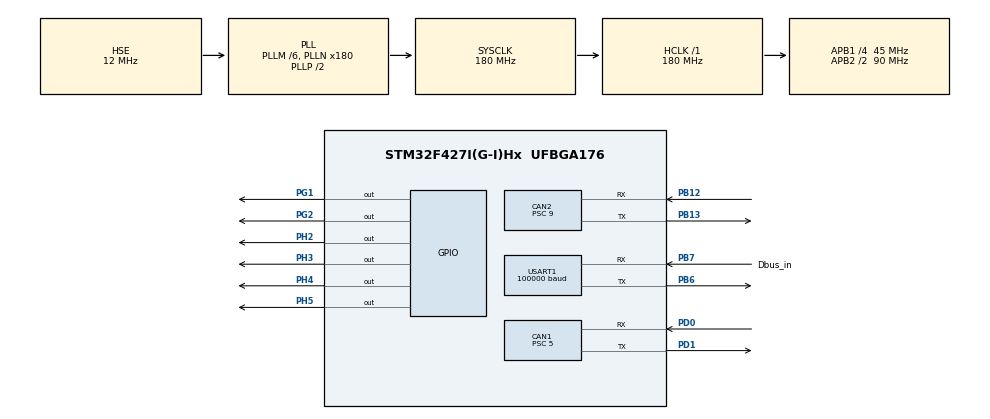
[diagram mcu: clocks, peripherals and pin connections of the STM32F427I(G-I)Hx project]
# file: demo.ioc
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CAN1.BS1=CAN_BS1_4TQ
CAN1.BS2=CAN_BS2_4TQ
CAN1.CalculateTimeQuantum=111.11111111111111
CAN1.Prescaler=5
CAN2.BS1=CAN_BS1_4TQ
CAN2.BS2=CAN_BS2_5TQ
CAN2.CalculateTimeQuantum=200.0
CAN2.Prescaler=9
CAN2.SJW=CAN_SJW_1TQ
FREERTOS.Tasks01=StartTask,2,128,StartDefaultTask,Default,NULL,Dynamic,NULL,NULL;TaskMove,-2,256,TaskMoveFun,Default,NULL,Dynamic,NULL,NULL;TaskHolder,-2,256,TaskHolderFun,Default,NULL,Dynamic,NULL,NULL;TaskShot,-2,256,TaskShotFun,Default,NULL,Dynamic,NULL,NULL;TaskGetInfo,-2,256,TaskGetInfoFun,Default,NULL,Dynamic,NULL,NULL
FREERTOS.configUSE_TIMERS=0
Mcu.Family=STM32F4
Mcu.Name=STM32F427I(G-I)Hx
Mcu.Package=UFBGA176
NVIC.CAN1_RX0_IRQn=true\:5\:0\:false\:false\:true\:true\:true
NVIC.CAN1_RX1_IRQn=true\:5\:0\:false\:false\:true\:true\:true
NVIC.CAN2_RX0_IRQn=true\:5\:0\:false\:false\:true\:true\:true
NVIC.CAN2_RX1_IRQn=true\:5\:0\:false\:false\:true\:true\:true
NVIC.PriorityGroup=NVIC_PRIORITYGROUP_4
NVIC.TIM8_TRG_COM_TIM14_IRQn=true\:0\:0\:false\:false\:true\:false\:false
NVIC.TimeBase=TIM8_TRG_COM_TIM14_IRQn
NVIC.TimeBaseIP=TIM14
NVIC.USART1_IRQn=true\:5\:0\:false\:false\:true\:true\:true
PB12.Mode=Slave
PB12.Signal=CAN2_RX
PB13.Mode=Slave
PB13.Signal=CAN2_TX
PB6.GPIO_Mode=GPIO_MODE_AF_PP
PB6.Mode=Asynchronous
PB6.Signal=USART1_TX
PB7.GPIO_Label=Dbus_in
PB7.Mode=Asynchronous
PB7.Signal=USART1_RX
PD0.Mode=Master
PD0.Signal=CAN1_RX
PD1.Mode=Master
PD1.Signal=CAN1_TX
PG1.PinState=GPIO_PIN_SET
PG1.Signal=GPIO_Output
PG2.PinState=GPIO_PIN_SET
PG2.Signal=GPIO_Output
PH0/OSC_IN.Mode=HSE-External-Oscillator
PH0/OSC_IN.Signal=RCC_OSC_IN
PH1/OSC_OUT.Mode=HSE-External-Oscillator
PH1/OSC_OUT.Signal=RCC_OSC_OUT
PH2.PinState=GPIO_PIN_SET
PH2.Signal=GPIO_Output
PH3.PinState=GPIO_PIN_SET
PH3.Signal=GPIO_Output
PH4.PinState=GPIO_PIN_SET
PH4.Signal=GPIO_Output
PH5.PinState=GPIO_PIN_SET
PH5.Signal=GPIO_Output
ProjectManager.HeapSize=0x200
ProjectManager.StackSize=0x400
ProjectManager.TargetToolchain=MDK-ARM V5
RCC.48MHZClocksFreq_Value=90000000
RCC.AHBFreq_Value=180000000
RCC.APB1CLKDivider=RCC_HCLK_DIV4
RCC.APB1Freq_Value=45000000
RCC.APB1TimFreq_Value=90000000
RCC.APB2CLKDivider=RCC_HCLK_DIV2
RCC.APB2Freq_Value=90000000
RCC.APB2TimFreq_Value=180000000
RCC.CortexFreq_Value=180000000
RCC.HCLKFreq_Value=180000000
RCC.HSE_VALUE=12000000
RCC.HSI_VALUE=16000000
RCC.LSE_VALUE=32768
RCC.PLLM=6
RCC.PLLN=180
RCC.PLLSourceVirtual=RCC_PLLSOURCE_HSE
RCC.SYSCLKFreq_VALUE=180000000
RCC.SYSCLKSource=RCC_SYSCLKSOURCE_PLLCLK
RCC.VCOOutputFreq_Value=360000000
USART1.BaudRate=100000
USART1.Mode=MODE_RX
USART1.Parity=PARITY_EVEN
USART1.VirtualMode=VM_ASYNC
VP_FREERTOS_VS_ENABLE.Mode=Enabled
VP_SYS_VS_tim14.Mode=TIM14
board=custom

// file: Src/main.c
/* USER CODE BEGIN Header */
/**
  ******************************************************************************
  * @file           : main.c
  * @brief          : Main program body
  ******************************************************************************
  * This notice applies to any and all portions of this file
  * that are not between comment pairs USER CODE BEGIN and
  * USER CODE END. Other portions of this file, whether
  * inserted by the user or by software development tools
  * are owned by their respective copyright owners.
  *
  * Copyright (c) 2019 STMicroelectronics International N.V.
  * All rights reserved.
  *
  * Redistribution and use in source and binary forms, with or without
  * modification, are permitted, provided that the following conditions are met:
  *
  * 1. Redistribution of source code must retain the above copyright notice,
  *    this list of conditions and the following disclaimer.
  * 2. Redistributions in binary form must reproduce the above copyright notice,
  *    this list of conditions and the following disclaimer in the documentation
  *    and/or other materials provided with the distribution.
  * 3. Neither the name of STMicroelectronics nor the names of other
  *    contributors to this software may be used to endorse or promote products
  *    derived from this software without specific written permission.
  * 4. This software, including modifications and/or derivative works of this
  *    software, must execute solely and exclusively on microcontroller or
  *    microprocessor devices manufactured by or for STMicroelectronics.
  * 5. Redistribution and use of this software other than as permitted under
  *    this license is void and will automatically terminate your rights under
  *    this license.
  *
  * THIS SOFTWARE IS PROVIDED BY STMICROELECTRONICS AND CONTRIBUTORS "AS IS"
  * AND ANY EXPRESS, IMPLIED OR STATUTORY WARRANTIES, INCLUDING, BUT NOT
  * LIMITED TO, THE IMPLIED WARRANTIES OF MERCHANTABILITY, FITNESS FOR A
  * PARTICULAR PURPOSE AND NON-INFRINGEMENT OF THIRD PARTY INTELLECTUAL PROPERTY
  * RIGHTS ARE DISCLAIMED TO THE FULLEST EXTENT PERMITTED BY LAW. IN NO EVENT
  * SHALL STMICROELECTRONICS OR CONTRIBUTORS BE LIABLE FOR ANY DIRECT, INDIRECT,
  * INCIDENTAL, SPECIAL, EXEMPLARY, OR CONSEQUENTIAL DAMAGES (INCLUDING, BUT NOT
  * LIMITED TO, PROCUREMENT OF SUBSTITUTE GOODS OR SERVICES; LOSS OF USE, DATA,
  * OR PROFITS; OR BUSINESS INTERRUPTION) HOWEVER CAUSED AND ON ANY THEORY OF
  * LIABILITY, WHETHER IN CONTRACT, STRICT LIABILITY, OR TORT (INCLUDING
  * NEGLIGENCE OR OTHERWISE) ARISING IN ANY WAY OUT OF THE USE OF THIS SOFTWARE,
  * EVEN IF ADVISED OF THE POSSIBILITY OF SUCH DAMAGE.
  *
  ******************************************************************************
  */
/* USER CODE END Header */

#include "main.h"
#include "cmsis_os.h"
#include "can.h"
#include "usart.h"
#include "gpio.h"

/* USER CODE BEGIN Includes */
#include "bsp_can.h"
#include "bsp_uart.h"
/* USER CODE END Includes */

void SystemClock_Config(void);
void MX_FREERTOS_Init(void);

int main(void)
{

  /* MCU Configuration--------------------------------------------------------*/

  /* Reset of all peripherals, Initializes the Flash interface and the Systick. */
  HAL_Init();

  /* Configure the system clock */
  SystemClock_Config();

  /* Initialize all configured peripherals */
  MX_GPIO_Init();
  MX_USART1_UART_Init();
  MX_CAN1_Init();
  MX_CAN2_Init();
  /* USER CODE BEGIN 2 */
	can_filter_init(&hcan1);
	can_filter_init(&hcan2);
	dbus_uart_init();

  /* USER CODE END 2 */

  /* Call init function for freertos objects (in freertos.c) */
  MX_FREERTOS_Init();

  /* Start scheduler */
  osKernelStart();

  /* We should never get here as control is now taken by the scheduler */

  /* Infinite loop */
  while (1)
  {

  }
}

void SystemClock_Config(void)
{
  RCC_OscInitTypeDef RCC_OscInitStruct = {0};
  RCC_ClkInitTypeDef RCC_ClkInitStruct = {0};

  /**Configure the main internal regulator output voltage
  */
  __HAL_RCC_PWR_CLK_ENABLE();
  __HAL_PWR_VOLTAGESCALING_CONFIG(PWR_REGULATOR_VOLTAGE_SCALE1);
  /**Initializes the CPU, AHB and APB busses clocks
  */
  RCC_OscInitStruct.OscillatorType = RCC_OSCILLATORTYPE_HSE;
  RCC_OscInitStruct.HSEState = RCC_HSE_ON;
  RCC_OscInitStruct.PLL.PLLState = RCC_PLL_ON;
  RCC_OscInitStruct.PLL.PLLSource = RCC_PLLSOURCE_HSE;
  RCC_OscInitStruct.PLL.PLLM = 6;
  RCC_OscInitStruct.PLL.PLLN = 180;
  RCC_OscInitStruct.PLL.PLLP = RCC_PLLP_DIV2;
  RCC_OscInitStruct.PLL.PLLQ = 4;
  if (HAL_RCC_OscConfig(&RCC_OscInitStruct) != HAL_OK)
  {
    Error_Handler();
  }
  /**Activate the Over-Drive mode
  */
  if (HAL_PWREx_EnableOverDrive() != HAL_OK)
  {
    Error_Handler();
  }
  /**Initializes the CPU, AHB and APB busses clocks
  */
  RCC_ClkInitStruct.ClockType = RCC_CLOCKTYPE_HCLK|RCC_CLOCKTYPE_SYSCLK
                              |RCC_CLOCKTYPE_PCLK1|RCC_CLOCKTYPE_PCLK2;
  RCC_ClkInitStruct.SYSCLKSource = RCC_SYSCLKSOURCE_PLLCLK;
  RCC_ClkInitStruct.AHBCLKDivider = RCC_SYSCLK_DIV1;
  RCC_ClkInitStruct.APB1CLKDivider = RCC_HCLK_DIV4;
  RCC_ClkInitStruct.APB2CLKDivider = RCC_HCLK_DIV2;

  if (HAL_RCC_ClockConfig(&RCC_ClkInitStruct, FLASH_LATENCY_5) != HAL_OK)
  {
    Error_Handler();
  }
}

void HAL_TIM_PeriodElapsedCallback(TIM_HandleTypeDef *htim)
{
  if (htim->Instance == TIM14) {
    HAL_IncTick();
  }
}

void Error_Handler(void)
{
}

/************************ (C) COPYRIGHT STMicroelectronics *****END OF FILE****/

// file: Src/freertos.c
/* USER CODE BEGIN Header */
/**
  ******************************************************************************
  * File Name          : freertos.c
  * Description        : Code for freertos applications
  ******************************************************************************
  * This notice applies to any and all portions of this file
  * that are not between comment pairs USER CODE BEGIN and
  * USER CODE END. Other portions of this file, whether
  * inserted by the user or by software development tools
  * are owned by their respective copyright owners.
  *
  * Copyright (c) 2019 STMicroelectronics International N.V.
  * All rights reserved.
  *
  * Redistribution and use in source and binary forms, with or without
  * modification, are permitted, provided that the following conditions are met:
  *
  * 1. Redistribution of source code must retain the above copyright notice,
  *    this list of conditions and the following disclaimer.
  * 2. Redistributions in binary form must reproduce the above copyright notice,
  *    this list of conditions and the following disclaimer in the documentation
  *    and/or other materials provided with the distribution.
  * 3. Neither the name of STMicroelectronics nor the names of other
  *    contributors to this software may be used to endorse or promote products
  *    derived from this software without specific written permission.
  * 4. This software, including modifications and/or derivative works of this
  *    software, must execute solely and exclusively on microcontroller or
  *    microprocessor devices manufactured by or for STMicroelectronics.
  * 5. Redistribution and use of this software other than as permitted under
  *    this license is void and will automatically terminate your rights under
  *    this license.
  *
  * THIS SOFTWARE IS PROVIDED BY STMICROELECTRONICS AND CONTRIBUTORS "AS IS"
  * AND ANY EXPRESS, IMPLIED OR STATUTORY WARRANTIES, INCLUDING, BUT NOT
  * LIMITED TO, THE IMPLIED WARRANTIES OF MERCHANTABILITY, FITNESS FOR A
  * PARTICULAR PURPOSE AND NON-INFRINGEMENT OF THIRD PARTY INTELLECTUAL PROPERTY
  * RIGHTS ARE DISCLAIMED TO THE FULLEST EXTENT PERMITTED BY LAW. IN NO EVENT
  * SHALL STMICROELECTRONICS OR CONTRIBUTORS BE LIABLE FOR ANY DIRECT, INDIRECT,
  * INCIDENTAL, SPECIAL, EXEMPLARY, OR CONSEQUENTIAL DAMAGES (INCLUDING, BUT NOT
  * LIMITED TO, PROCUREMENT OF SUBSTITUTE GOODS OR SERVICES; LOSS OF USE, DATA,
  * OR PROFITS; OR BUSINESS INTERRUPTION) HOWEVER CAUSED AND ON ANY THEORY OF
  * LIABILITY, WHETHER IN CONTRACT, STRICT LIABILITY, OR TORT (INCLUDING
  * NEGLIGENCE OR OTHERWISE) ARISING IN ANY WAY OUT OF THE USE OF THIS SOFTWARE,
  * EVEN IF ADVISED OF THE POSSIBILITY OF SUCH DAMAGE.
  *
  ******************************************************************************
  */
/* USER CODE END Header */

#include "FreeRTOS.h"
#include "task.h"
#include "main.h"
#include "cmsis_os.h"

/* USER CODE BEGIN Includes */
#include "can.h"
#include "bsp_uart.h"
#include "bsp_can.h"
#include "pid.h"
/* USER CODE END Includes */

/* USER CODE BEGIN PM */
int16_t set_spd[4];
/* USER CODE END PM */

osThreadId StartTaskHandle;
osThreadId TaskMoveHandle;
osThreadId TaskHolderHandle;
osThreadId TaskShotHandle;
osThreadId TaskGetInfoHandle;

void StartDefaultTask(void const * argument);
void TaskMoveFun(void const * argument);
void TaskHolderFun(void const * argument);
void TaskShotFun(void const * argument);
void TaskGetInfoFun(void const * argument);

void MX_FREERTOS_Init(void); /* (MISRA C 2004 rule 8.1) */

void MX_FREERTOS_Init(void) {

  /* Create the thread(s) */
  /* definition and creation of StartTask */
  osThreadDef(StartTask, StartDefaultTask, osPriorityHigh, 0, 128);
  StartTaskHandle = osThreadCreate(osThread(StartTask), NULL);

  /* definition and creation of TaskMove */
  osThreadDef(TaskMove, TaskMoveFun, osPriorityLow, 0, 256);
  TaskMoveHandle = osThreadCreate(osThread(TaskMove), NULL);

  /* definition and creation of TaskHolder */
  osThreadDef(TaskHolder, TaskHolderFun, osPriorityLow, 0, 256);
  TaskHolderHandle = osThreadCreate(osThread(TaskHolder), NULL);

  /* definition and creation of TaskShot */
  osThreadDef(TaskShot, TaskShotFun, osPriorityLow, 0, 256);
  TaskShotHandle = osThreadCreate(osThread(TaskShot), NULL);

  /* definition and creation of TaskGetInfo */
  osThreadDef(TaskGetInfo, TaskGetInfoFun, osPriorityLow, 0, 256);
  TaskGetInfoHandle = osThreadCreate(osThread(TaskGetInfo), NULL);

}

void StartDefaultTask(void const * argument)
{

  /* USER CODE BEGIN StartDefaultTask */
  /* Infinite loop */
  for(;;)
  {
		HAL_GPIO_TogglePin(GPIOG, GPIO_PIN_1);
    osDelay(500);
  }
  /* USER CODE END StartDefaultTask */
}

void TaskMoveFun(void const * argument)
{
  /* USER CODE BEGIN TaskMoveFun */
	//初始化PID
	for(uint8_t i=0; i<4; i++)
	{
		//设定PID的最大输出在16384
		PID_struct_init(&pid_spd[i], POSITION_PID, 16384, 16384,1.5f,	0.1f,	0.0f	);  //4 motos angular rate closeloop.
	}
  /* Infinite loop */
  for(;;)
  {

		cal_speed( set_spd);
		//计算PID
		for(int i=0; i<4; i++)
		{
			pid_calc(&pid_spd[i], moto_chassis[i].speed_rpm, set_spd[i]);
		}
		//输出
		set_moto_current(&hcan1, pid_spd[0].pos_out,pid_spd[1].pos_out,	pid_spd[2].pos_out,pid_spd[3].pos_out);
		osDelay(50);

  }

  /* USER CODE END TaskMoveFun */
}

void TaskHolderFun(void const * argument)
{
  for(;;)
  {
    osDelay(1);
  }
}

void TaskShotFun(void const * argument)
{
  for(;;)
  {
    osDelay(1);
  }
}

void TaskGetInfoFun(void const * argument)
{
  for(;;)
  {
    osDelay(1);
  }
}

/************************ (C) COPYRIGHT STMicroelectronics *****END OF FILE****/
